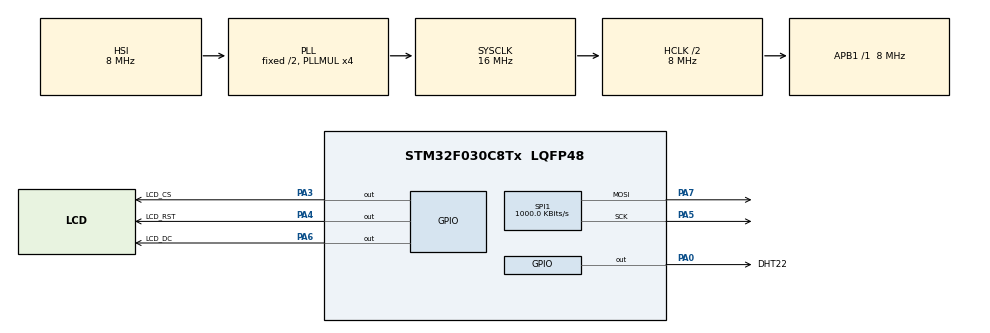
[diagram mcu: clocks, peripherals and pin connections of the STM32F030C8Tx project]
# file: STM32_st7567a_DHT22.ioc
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Mcu.Family=STM32F0
Mcu.Name=STM32F030C8Tx
Mcu.Package=LQFP48
PA0.GPIO_Label=DHT22
PA0.GPIO_PuPd=GPIO_PULLUP
PA0.Signal=GPIO_Output
PA13.Mode=Serial_Wire
PA13.Signal=SYS_SWDIO
PA14.Mode=Serial_Wire
PA14.Signal=SYS_SWCLK
PA3.GPIO_Label=LCD_CS
PA3.PinState=GPIO_PIN_SET
PA3.Signal=GPIO_Output
PA4.GPIO_Label=LCD_RST
PA4.PinState=GPIO_PIN_SET
PA4.Signal=GPIO_Output
PA5.Mode=TX_Only_Simplex_Unidirect_Master
PA5.Signal=SPI1_SCK
PA6.GPIO_Label=LCD_DC
PA6.Signal=GPIO_Output
PA7.Mode=TX_Only_Simplex_Unidirect_Master
PA7.Signal=SPI1_MOSI
PF0-OSC_IN.Mode=HSE-External-Oscillator
PF0-OSC_IN.Signal=RCC_OSC_IN
PF1-OSC_OUT.Mode=HSE-External-Oscillator
PF1-OSC_OUT.Signal=RCC_OSC_OUT
ProjectManager.HeapSize=0x200
ProjectManager.StackSize=0x400
ProjectManager.TargetToolchain=STM32CubeIDE
RCC.AHBCLKDivider=RCC_SYSCLK_DIV2
RCC.AHBFreq_Value=8000000
RCC.APB1Freq_Value=8000000
RCC.APB1TimFreq_Value=8000000
RCC.HCLKFreq_Value=8000000
RCC.PLLMUL=RCC_PLL_MUL4
RCC.SYSCLKFreq_VALUE=16000000
RCC.SYSCLKSource=RCC_SYSCLKSOURCE_PLLCLK
SPI1.BaudRatePrescaler=SPI_BAUDRATEPRESCALER_8
SPI1.CalculateBaudRate=1000.0 KBits/s
SPI1.DataSize=SPI_DATASIZE_8BIT
SPI1.Direction=SPI_DIRECTION_2LINES
SPI1.Mode=SPI_MODE_MASTER
SPI1.VirtualType=VM_MASTER
TIM1.Prescaler=15
VP_TIM1_VS_ClockSourceINT.Mode=Internal
board=custom

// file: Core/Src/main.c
/* USER CODE BEGIN Header */
/**
  ******************************************************************************
  * @file           : main.c
  * @brief          : Main program body
  ******************************************************************************
  * @attention
  *
  * Copyright (c) 2025 STMicroelectronics.
  * All rights reserved.
  *
  * This software is licensed under terms that can be found in the LICENSE file
  * in the root directory of this software component.
  * If no LICENSE file comes with this software, it is provided AS-IS.
  *
  ******************************************************************************
  */
/* USER CODE END Header */
#include "main.h"

/* USER CODE BEGIN Includes */
#include <stdio.h>
#include <stdbool.h>
#include "st7567a.h"
#include <string.h>
#include "DHT.h"
/* USER CODE END Includes */

SPI_HandleTypeDef hspi1;

TIM_HandleTypeDef htim1;

void SystemClock_Config(void);
static void MX_GPIO_Init(void);
static void MX_SPI1_Init(void);
static void MX_TIM1_Init(void);

int main(void)
{

  /* MCU Configuration--------------------------------------------------------*/

  /* Reset of all peripherals, Initializes the Flash interface and the Systick. */
  HAL_Init();

  /* Configure the system clock */
  SystemClock_Config();

  /* Initialize all configured peripherals */
  MX_GPIO_Init();
  MX_SPI1_Init();
  MX_TIM1_Init();
  /* USER CODE BEGIN 2 */
  st7567a_Init();
  static DHT_sensor livingRoom = {GPIOA, GPIO_PIN_0, DHT22, GPIO_PULLUP};
  HAL_Delay(1000);

  void lcd(uint8_t x, uint8_t y, uint8_t font, char msg[]){
	  st7567a_SetCursor(x, y);
	  if		(font==1){st7567a_WriteString(msg, FontStyle_RetroVilleNC_9, PIXEL_ON);}
	  else if	(font==2){st7567a_WriteString(msg, FontStyle_videotype_18, PIXEL_ON);}
  }
  uint8_t x = 21;
  int8_t increment = 1;

  /* USER CODE END 2 */

  /* Infinite loop */
  /* USER CODE BEGIN WHILE */
  while (1)
  {
	  st7567a_Fill(0);
	  lcd(x, 3, 2, "35 years");

	  char msg[40];
      DHT_data d = DHT_getData(&livingRoom);
      sprintf(msg, " % 3.1f°C", d.temp);
      lcd(x, 23, 2, msg);
      sprintf(msg, " % 3.1f%%", d.hum);
      lcd(x, 43, 2, msg);

	  x += increment;
	  if (x == 42) {increment = -1;} else if (x == 0) {increment = 1;}
	  st7567a_Display();
	  HAL_Delay(10000);
    /* USER CODE END WHILE */

  }
}

void SystemClock_Config(void)
{
  RCC_OscInitTypeDef RCC_OscInitStruct = {0};
  RCC_ClkInitTypeDef RCC_ClkInitStruct = {0};

  /** Initializes the RCC Oscillators according to the specified parameters
  * in the RCC_OscInitTypeDef structure.
  */
  RCC_OscInitStruct.OscillatorType = RCC_OSCILLATORTYPE_HSI;
  RCC_OscInitStruct.HSIState = RCC_HSI_ON;
  RCC_OscInitStruct.HSICalibrationValue = RCC_HSICALIBRATION_DEFAULT;
  RCC_OscInitStruct.PLL.PLLState = RCC_PLL_ON;
  RCC_OscInitStruct.PLL.PLLSource = RCC_PLLSOURCE_HSI;
  RCC_OscInitStruct.PLL.PLLMUL = RCC_PLL_MUL4;
  RCC_OscInitStruct.PLL.PREDIV = RCC_PREDIV_DIV1;
  if (HAL_RCC_OscConfig(&RCC_OscInitStruct) != HAL_OK)
  {
    Error_Handler();
  }

  /** Initializes the CPU, AHB and APB buses clocks
  */
  RCC_ClkInitStruct.ClockType = RCC_CLOCKTYPE_HCLK|RCC_CLOCKTYPE_SYSCLK
                              |RCC_CLOCKTYPE_PCLK1;
  RCC_ClkInitStruct.SYSCLKSource = RCC_SYSCLKSOURCE_PLLCLK;
  RCC_ClkInitStruct.AHBCLKDivider = RCC_SYSCLK_DIV2;
  RCC_ClkInitStruct.APB1CLKDivider = RCC_HCLK_DIV1;

  if (HAL_RCC_ClockConfig(&RCC_ClkInitStruct, FLASH_LATENCY_0) != HAL_OK)
  {
    Error_Handler();
  }
}

static void MX_SPI1_Init(void)
{

  /* SPI1 parameter configuration*/
  hspi1.Instance = SPI1;
  hspi1.Init.Mode = SPI_MODE_MASTER;
  hspi1.Init.Direction = SPI_DIRECTION_2LINES;
  hspi1.Init.DataSize = SPI_DATASIZE_8BIT;
  hspi1.Init.CLKPolarity = SPI_POLARITY_LOW;
  hspi1.Init.CLKPhase = SPI_PHASE_1EDGE;
  hspi1.Init.NSS = SPI_NSS_SOFT;
  hspi1.Init.BaudRatePrescaler = SPI_BAUDRATEPRESCALER_8;
  hspi1.Init.FirstBit = SPI_FIRSTBIT_MSB;
  hspi1.Init.TIMode = SPI_TIMODE_DISABLE;
  hspi1.Init.CRCCalculation = SPI_CRCCALCULATION_DISABLE;
  hspi1.Init.CRCPolynomial = 7;
  hspi1.Init.CRCLength = SPI_CRC_LENGTH_DATASIZE;
  hspi1.Init.NSSPMode = SPI_NSS_PULSE_ENABLE;
  if (HAL_SPI_Init(&hspi1) != HAL_OK)
  {
    Error_Handler();
  }

}

static void MX_TIM1_Init(void)
{

  TIM_ClockConfigTypeDef sClockSourceConfig = {0};
  TIM_MasterConfigTypeDef sMasterConfig = {0};

  htim1.Instance = TIM1;
  htim1.Init.Prescaler = 15;
  htim1.Init.CounterMode = TIM_COUNTERMODE_UP;
  htim1.Init.Period = 65535;
  htim1.Init.ClockDivision = TIM_CLOCKDIVISION_DIV1;
  htim1.Init.RepetitionCounter = 0;
  htim1.Init.AutoReloadPreload = TIM_AUTORELOAD_PRELOAD_DISABLE;
  if (HAL_TIM_Base_Init(&htim1) != HAL_OK)
  {
    Error_Handler();
  }
  sClockSourceConfig.ClockSource = TIM_CLOCKSOURCE_INTERNAL;
  if (HAL_TIM_ConfigClockSource(&htim1, &sClockSourceConfig) != HAL_OK)
  {
    Error_Handler();
  }
  sMasterConfig.MasterOutputTrigger = TIM_TRGO_RESET;
  sMasterConfig.MasterSlaveMode = TIM_MASTERSLAVEMODE_DISABLE;
  if (HAL_TIMEx_MasterConfigSynchronization(&htim1, &sMasterConfig) != HAL_OK)
  {
    Error_Handler();
  }

}

static void MX_GPIO_Init(void)
{
  GPIO_InitTypeDef GPIO_InitStruct = {0};

  /* GPIO Ports Clock Enable */
  __HAL_RCC_GPIOF_CLK_ENABLE();
  __HAL_RCC_GPIOA_CLK_ENABLE();

  /*Configure GPIO pin Output Level */
  HAL_GPIO_WritePin(GPIOA, DHT22_Pin|LCD_DC_Pin, GPIO_PIN_RESET);

  /*Configure GPIO pin Output Level */
  HAL_GPIO_WritePin(GPIOA, LCD_CS_Pin|LCD_RST_Pin, GPIO_PIN_SET);

  /*Configure GPIO pin : DHT22_Pin */
  GPIO_InitStruct.Pin = DHT22_Pin;
  GPIO_InitStruct.Mode = GPIO_MODE_OUTPUT_PP;
  GPIO_InitStruct.Pull = GPIO_PULLUP;
  GPIO_InitStruct.Speed = GPIO_SPEED_FREQ_LOW;
  HAL_GPIO_Init(DHT22_GPIO_Port, &GPIO_InitStruct);

  /*Configure GPIO pins : LCD_CS_Pin LCD_RST_Pin LCD_DC_Pin */
  GPIO_InitStruct.Pin = LCD_CS_Pin|LCD_RST_Pin|LCD_DC_Pin;
  GPIO_InitStruct.Mode = GPIO_MODE_OUTPUT_PP;
  GPIO_InitStruct.Pull = GPIO_NOPULL;
  GPIO_InitStruct.Speed = GPIO_SPEED_FREQ_LOW;
  HAL_GPIO_Init(GPIOA, &GPIO_InitStruct);

}

void Error_Handler(void)
{
  __disable_irq();
  while (1)
  {
  }
}
